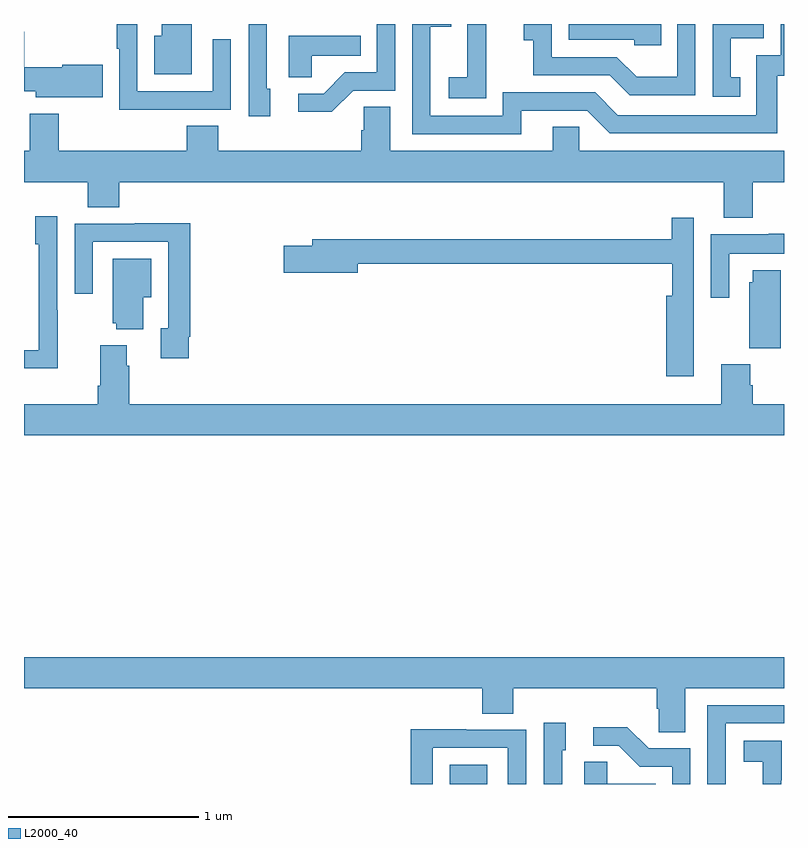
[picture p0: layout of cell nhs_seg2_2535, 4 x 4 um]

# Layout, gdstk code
import gdstk
lib = gdstk.Library(unit=1e-6, precision=1e-09)
def R(c, l, rs):  # rectangles x0, y0, x1, y1
    for r in rs: c.add(gdstk.rectangle(r[:2], r[2:], *l))
def P(c, l, *ps):  # polygons
    for p in ps: c.add(gdstk.Polygon(p, *l))
L2000_40 = (2000, 40)

nhs_seg2_2535 = lib.new_cell('nhs_seg2_2535')
R(nhs_seg2_2535, L2000_40, [(245.24,645.8,245.437,645.901)])
P(nhs_seg2_2535, L2000_40, [(246.353,649.8),(245.868,649.8),(245.868,649.716),(246.213,649.716),(246.213,649.689),(246.353,649.689)],
  [(245.617,649.344),(245.964,649.344),(246.084,649.224),(246.964,649.224),(246.964,649.527),(247,649.527),(247,649.8),(246.984,649.8),(246.984,649.635),(246.855,649.635),(246.855,649.32),(246.126,649.32),(246.006,649.44),(245.52,649.44),(245.52,649.317),(245.139,649.317),(245.139,649.786),(245.249,649.786),(245.249,649.8),(245.043,649.8),(245.043,649.221),(245.617,649.221)],
  [(244.297,649.458),(244.278,649.458),(244.278,649.8),(244.182,649.8),(244.182,649.314),(244.297,649.314)],
  [(243.883,649.8),(243.725,649.8),(243.725,649.738),(243.686,649.738),(243.686,649.535),(243.883,649.535)],
  [(244.734,649.449),(244.953,649.449),(244.953,649.8),(244.857,649.8),(244.857,649.545),(244.688,649.545),(244.577,649.434),(244.443,649.434),(244.443,649.337),(244.621,649.337)],
  [(246.77,649.521),(246.721,649.521),(246.721,649.725),(246.894,649.725),(246.894,649.8),(246.624,649.8),(246.624,649.416),(246.77,649.416)],
  [(243.773,649.35),(244.089,649.35),(244.089,649.72),(243.993,649.72),(243.993,649.446),(243.597,649.446),(243.597,649.8),(243.489,649.8),(243.489,649.669),(243.501,649.669),(243.501,649.349),(243.773,649.349)],
  [(246.534,649.8),(246.438,649.8),(246.438,649.522),(246.224,649.522),(246.12,649.626),(245.778,649.626),(245.778,649.8),(245.631,649.8),(245.631,649.715),(245.68,649.715),(245.68,649.53),(246.083,649.53),(246.188,649.425),(246.534,649.425)],
  [(245.433,649.615),(245.432,649.615),(245.432,649.8),(245.334,649.8),(245.334,649.748),(245.333,649.748),(245.333,649.519),(245.235,649.519),(245.235,649.409),(245.433,649.409)],
  [(243.415,649.586),(243.201,649.586),(243.201,649.573),(243.002,649.573),(243.002,649.759),(243,649.759),(243,649.445),(243.062,649.445),(243.062,649.415),(243.415,649.415)],
  [(244.515,649.634),(244.772,649.634),(244.772,649.738),(244.394,649.738),(244.394,649.519),(244.515,649.519)],
  [(246.836,648.968),(247,648.968),(247,649.132),(245.922,649.132),(245.922,649.259),(245.783,649.259),(245.783,649.132),(244.927,649.132),(244.927,649.364),(244.788,649.364),(244.788,649.241),(244.775,649.241),(244.775,649.132),(244.022,649.132),(244.022,649.265),(243.857,649.265),(243.857,649.132),(243.182,649.132),(243.182,649.327),(243.029,649.327),(243.029,649.132),(243,649.132),(243,648.968),(243.335,648.968),(243.335,648.835),(243.5,648.835),(243.5,648.968),(246.683,648.968),(246.683,648.779),(246.836,648.779)],
  [(243.177,648.293),(243.174,648.293),(243.174,648.787),(243.059,648.787),(243.059,648.642),(243.078,648.642),(243.078,648.323),(243.077,648.323),(243.077,648.084),(243,648.084),(243,647.987),(243.177,647.987)],
  [(246.526,648.266),(246.525,648.266),(246.525,648.781),(246.409,648.781),(246.409,648.667),(244.517,648.667),(244.517,648.633),(244.368,648.633),(244.368,648.491),(244.756,648.491),(244.756,648.538),(246.413,648.538),(246.413,648.37),(246.38,648.37),(246.38,647.946),(246.526,647.946)],
  [(243.868,648.154),(243.875,648.154),(243.875,648.752),(243.583,648.752),(243.583,648.75),(243.267,648.75),(243.267,648.381),(243.363,648.381),(243.363,648.654),(243.759,648.654),(243.759,648.198),(243.719,648.198),(243.719,648.042),(243.868,648.042)],
  [(246.711,648.59),(247,648.59),(247,648.697),(246.919,648.697),(246.919,648.694),(246.615,648.694),(246.615,648.36),(246.711,648.36)],
  [(243.628,648.362),(243.67,648.362),(243.67,648.565),(243.467,648.565),(243.467,648.225),(243.485,648.225),(243.485,648.194),(243.628,648.194)],
  [(246.982,648.505),(246.836,648.505),(246.836,648.441),(246.818,648.441),(246.818,648.094),(246.982,648.094)],
  [(247,647.8),(246.836,647.8),(246.836,647.9),(246.823,647.9),(246.823,648.009),(246.671,648.009),(246.671,647.8),(243.554,647.8),(243.554,648.002),(243.541,648.002),(243.541,648.109),(243.401,648.109),(243.401,647.896),(243.389,647.896),(243.389,647.8),(243,647.8),(243,647.636),(247,647.636)],
  [(246.481,646.304),(247,646.304),(247,646.468),(243,646.468),(243,646.304),(245.411,646.304),(245.411,646.171),(245.576,646.171),(245.576,646.304),(246.329,646.304),(246.329,646.195),(246.342,646.195),(246.342,646.072),(246.481,646.072)],
  [(246.693,646.119),(247,646.119),(247,646.215),(246.597,646.215),(246.597,645.8),(246.693,645.8)],
  [(245.832,645.978),(245.851,645.978),(245.851,646.123),(245.736,646.123),(245.736,645.8),(245.832,645.8)],
  [(246.507,645.987),(246.288,645.987),(246.175,646.1),(245.997,646.1),(245.997,646.002),(246.131,646.002),(246.242,645.891),(246.411,645.891),(246.411,645.8),(246.507,645.8)],
  [(245.151,645.99),(245.547,645.99),(245.547,645.8),(245.643,645.8),(245.643,646.086),(245.327,646.086),(245.327,646.088),(245.035,646.088),(245.035,645.8),(245.151,645.8)],
  [(246.986,645.821),(246.987,645.821),(246.987,646.027),(246.789,646.027),(246.789,645.917),(246.887,645.917),(246.887,645.8),(246.986,645.8)],
  [(246.326,645.802),(246.069,645.802),(246.069,645.917),(245.948,645.917),(245.948,645.8),(246.326,645.8)])

lib.write_gds('nhs_seg2_2535.gds')
